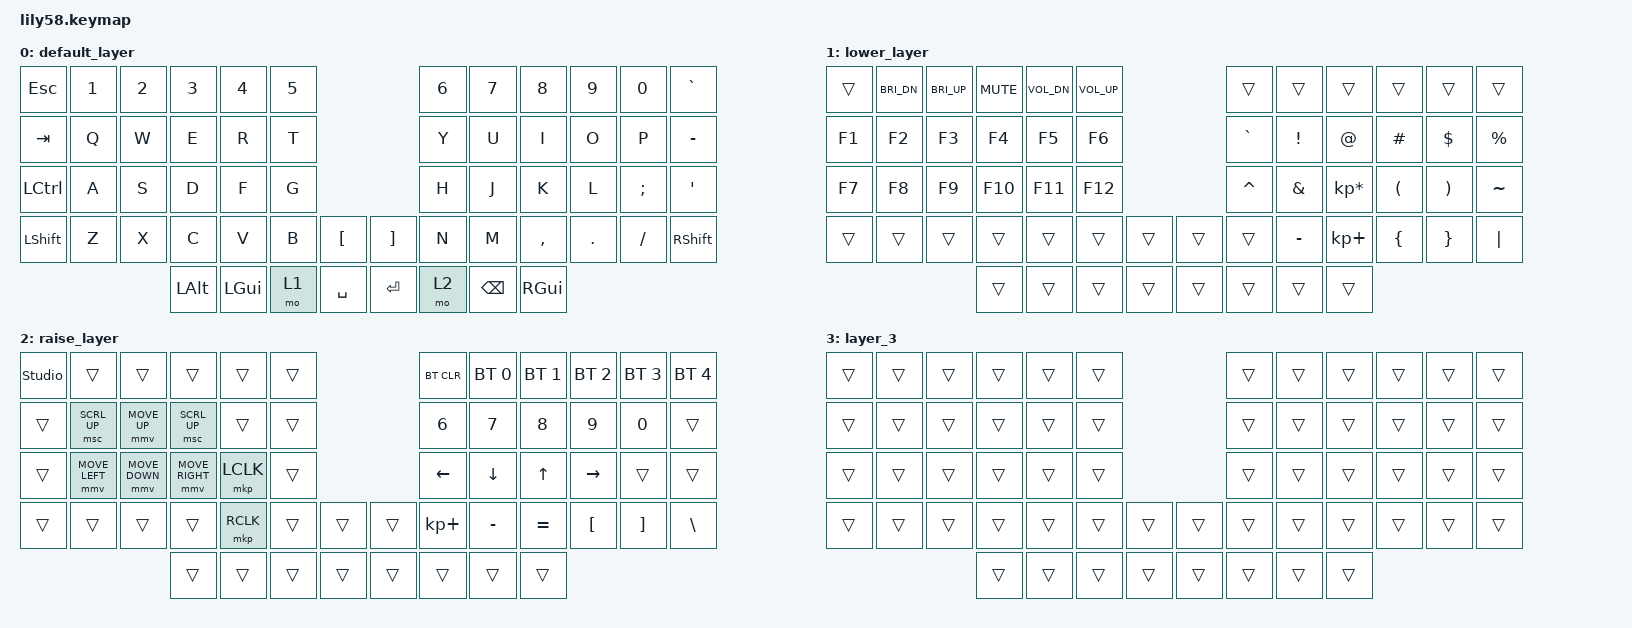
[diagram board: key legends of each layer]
/*
 * Copyright (c) 2020 The ZMK Contributors
 *
 * SPDX-License-Identifier: MIT
 */

#include <behaviors.dtsi>
#include <dt-bindings/zmk/bt.h>
#include <dt-bindings/zmk/keys.h>
#include <dt-bindings/zmk/pointing.h>
#include <dt-bindings/zmk/pointing.h>
#include <dt-bindings/zmk/pointing.h>

/ {
    keymap {
        compatible = "zmk,keymap";

        default_layer {
            // ------------------------------------------------------------------------------------------------------------
            // |  ESC  |  1  |  2  |  3   |  4   |  5   |                   |  6   |  7    |  8    |  9   |   0   |   `   |
            // |  TAB  |  Q  |  W  |  E   |  R   |  T   |                   |  Y   |  U    |  I    |  O   |   P   |   -   |
            // |  CTRL |  A  |  S  |  D   |  F   |  G   |                   |  H   |  J    |  K    |  L   |   ;   |   '   |
            // | SHIFT |  Z  |  X  |  C   |  V   |  B   |   "["  |  |  "]"  |  N   |  M    |  ,    |  .   |   /   | SHIFT |
            //                     | ALT  | GUI  | LOWER|  SPACE |  | ENTER | RAISE| BSPC  | GUI   |

            bindings = <
&kp ESC    &kp N1  &kp N2  &kp N3    &kp N4    &kp N5                         &kp N6  &kp N7    &kp N8     &kp N9   &kp N0    &kp GRAVE
&kp TAB    &kp Q   &kp W   &kp E     &kp R     &kp T                          &kp Y   &kp U     &kp I      &kp O    &kp P     &kp MINUS
&kp LCTRL  &kp A   &kp S   &kp D     &kp F     &kp G                          &kp H   &kp J     &kp K      &kp L    &kp SEMI  &kp SQT
&kp LSHFT  &kp Z   &kp X   &kp C     &kp V     &kp B   &kp LBKT     &kp RBKT  &kp N   &kp M     &kp COMMA  &kp DOT  &kp FSLH  &kp RSHFT
                           &kp LALT  &kp LGUI  &mo 1   &kp SPACE    &kp RET   &mo 2   &kp BSPC  &kp RGUI
            >;
        };

        lower_layer {
            // --------------------------------------------------------------------------------------------------------------
            // | LPAD  | BRDn | BRUp |  MUT |  Vo- |  Vo+ |                   |      |       |       |      |       |       |
            // |  F1   |  F2  |  F3  |  F4  |  F5  |  F6  |                   |  F7  |  F8   |  F9   |  F10 |  F11  |  F12  |
            // |   `   |  !   |  @   |  #   |  $   |  %   |                   |  ^   |  &    |  *    |  (   |   )   |   ~   |
            // |       |      |      |      |      |      |        |  |       |      |  _    |  +    |  {   |   }   |  "|"  |
            //                       |      |      |      |        |  |       |      |       |       |

            bindings = <
&trans  &kp C_BRI_DN  &kp C_BRI_UP  &kp C_MUTE  &kp C_VOL_DN  &kp C_VOL_UP                    &trans     &trans           &trans           &trans     &trans      &trans
&kp F1  &kp F2        &kp F3        &kp F4      &kp F5        &kp F6                          &kp GRAVE  &kp EXCLAMATION  &kp AT_SIGN      &kp POUND  &kp DOLLAR  &kp PERCENT
&kp F7  &kp F8        &kp F9        &kp F10     &kp F11       &kp F12                         &kp CARET  &kp AMPERSAND    &kp KP_MULTIPLY  &kp LPAR   &kp RPAR    &kp TILDE
&trans  &trans        &trans        &trans      &trans        &trans        &trans    &trans  &trans     &kp MINUS        &kp KP_PLUS      &kp LBRC   &kp RBRC    &kp PIPE
                                    &trans      &trans        &trans        &trans    &trans  &trans     &trans           &trans
            >;
        };

        raise_layer {
            // ------------------------------------------------------------------------------------------------------------
            // |       |     |     |      |      |      |                   |      |       |       |      |       |       |
            // |   `   |  1  |  2  |  3   |  4   |  5   |                   |  6   |   7   |   8   |  9   |   0   |       |
            // |   F1  |  F2 |  F3 |  F4  |  F5  |  F6  |                   |      |   <-  |   v   |  ^   |  ->   |       |
            // |   F7  |  F8 |  F9 |  F10 |  F11 |  F12 |        |  |       |  +   |   -   |   =   |  [   |   ]   |   \   |
            //                     |      |      |      |        |  |       |      |       |       |

            bindings = <
&studio_unlock  &trans          &trans          &trans           &trans     &trans                    &bt BT_CLR   &bt BT_SEL 0    &bt BT_SEL 1  &bt BT_SEL 2  &bt BT_SEL 3  &bt BT_SEL 4
&trans          &msc SCRL_UP    &mmv MOVE_UP    &msc SCRL_UP     &trans     &trans                    &kp N6       &kp N7          &kp N8        &kp N9        &kp N0        &trans
&trans          &mmv MOVE_LEFT  &mmv MOVE_DOWN  &mmv MOVE_RIGHT  &mkp LCLK  &trans                    &kp LEFT     &kp DOWN_ARROW  &kp UP        &kp RIGHT     &trans        &trans
&trans          &trans          &trans          &trans           &mkp RCLK  &trans  &trans    &trans  &kp KP_PLUS  &kp MINUS       &kp EQUAL     &kp LBKT      &kp RBKT      &kp BSLH
                                                &trans           &trans     &trans  &trans    &trans  &trans       &trans          &trans
            >;
        };

        layer_3 {
            bindings = <
&trans  &trans  &trans  &trans  &trans  &trans                    &trans  &trans  &trans  &trans  &trans  &trans
&trans  &trans  &trans  &trans  &trans  &trans                    &trans  &trans  &trans  &trans  &trans  &trans
&trans  &trans  &trans  &trans  &trans  &trans                    &trans  &trans  &trans  &trans  &trans  &trans
&trans  &trans  &trans  &trans  &trans  &trans  &trans    &trans  &trans  &trans  &trans  &trans  &trans  &trans
                        &trans  &trans  &trans  &trans    &trans  &trans  &trans  &trans
            >;
        };
    };
};
